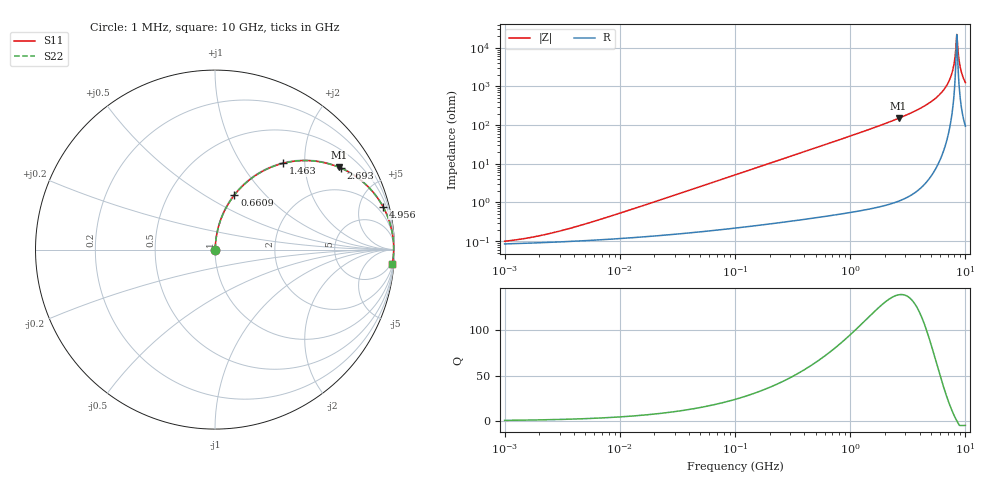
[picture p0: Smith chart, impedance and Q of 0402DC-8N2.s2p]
# MHz  S  MA  R  50
!Freq  MagS11  AngS11  MagS21  AngS21  MagS12  AngS12  MagS22  AngS22
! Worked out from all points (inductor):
!   801 points, 1 MHz to 10 GHz, reference 50 ohm
!   read as one part in series: L = 8.2 nH near 6.238 MHz
!   highest Q = 139 at 2.631 GHz (marker M1), where L = 9.09 nH
!   self-resonance near 8.418 GHz
!   S11 on the Smith chart (normalised r, x): 1 MHz: 1.00, +0.00; 660.9 MHz: 1.01, +0.69; 1.463 GHz: 1.01, +1.55; 2.693 GHz: 1.02, +3.09; 4.956 GHz: 1.09, +7.81; 10 GHz: 3, -25
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1  0.0009906 31.3  0.9992 -0.0  0.9992 -0.0  0.0009906 31.3
2.06545  0.0014 49.4  0.9991 -0.1  0.9991 -0.1  0.0014 49.4
4.67769  0.002614 67.0  0.999 -0.1  0.999 -0.1  0.002614 67.0
21.6303  0.01121 82.3  0.9986 -0.6  0.9986 -0.6  0.01121 82.3
100.0216  0.05141 84.6  0.9965 -2.9  0.9965 -2.9  0.05141 84.6
467.8699  0.2342 75.5  0.9684 -13.5  0.9684 -13.5  0.2342 75.5
660.8945  0.3228 70.4  0.9422 -18.8  0.9422 -18.8  0.3228 70.4
1462.677  0.611 51.8  0.7863 -37.7  0.7863 -37.7  0.611 51.8
2163.497  0.7637 39.8  0.6399 -49.8  0.6399 -49.8  0.7637 39.8
2631.239  0.8297 33.5  0.5523 -56.1  0.5523 -56.1  0.8297 33.5
2692.531  0.8368 32.8  0.5416 -56.8  0.5416 -56.8  0.8368 32.8
4956.478  0.9661 14.3  0.2475 -75.0  0.2475 -75.0  0.9661 14.3
6097.859  0.9857 8.6  0.1495 -80.2  0.1495 -80.2  0.9857 8.6
7082.399  0.9932 4.6  0.08004 -82.9  0.08004 -82.9  0.9932 4.6
7676.832  0.9951 2.5  0.04302 -82.3  0.04302 -82.3  0.9951 2.5
7855.657  0.9954 1.8  0.03251 -81.0  0.03251 -81.0  0.9954 1.8
8131.735  0.9956 0.9  0.01695 -74.6  0.01695 -74.6  0.9956 0.9
8417.515  0.9955 0.0  0.004493 -7.3  0.004493 -7.3  0.9955 0.0
8713.339  0.9952 -0.9  0.01596 72.1  0.01596 72.1  0.9952 -0.9
9019.56  0.9946 -1.8  0.03148 79.2  0.03148 79.2  0.9946 -1.8
9336.542  0.9937 -2.7  0.04721 81.0  0.04721 81.0  0.9937 -2.7
10000  0.9911 -4.5  0.07864 81.3  0.07864 81.3  0.9911 -4.5
